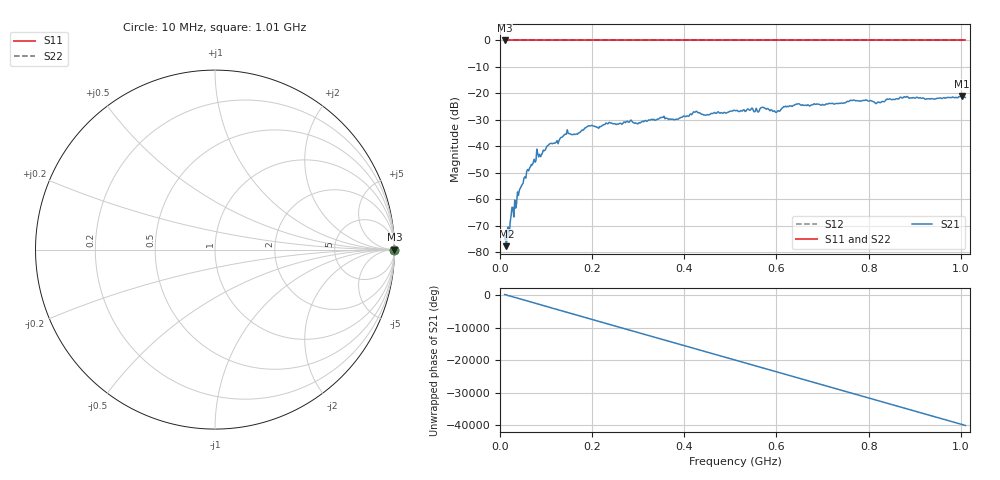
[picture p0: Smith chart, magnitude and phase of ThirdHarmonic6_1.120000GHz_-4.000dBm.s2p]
! 8/16/2025 10:45:35 AM
! C:\ANRITSUVNA\TEMP\TEMP.S2P
! CHANNEL.1
! TR.MEASUREMENT
! RAW.DATA
! RF.CORRECTION.OFF
! AVERAGING.OFF
! IF.BANDWIDTH: 5KHZ
! SWEEPTYPE:  FREQ.SWEEP(Linear)
! Reference Plane Port Info
! PORT:  PORT1  PORT2
! DISTANCE:  0  m  0  m
! TIME:  0  s  0  s
! PHASE.OFFSET:  0  deg.  0  deg.
! LOSS:  0  dB  0  dB
! REF.LOSS:  0  dB  0  dB
! REF.FREQ:  0  Hz  0  Hz
! Power Info
! POWER:  -20  dBm  -20  dBm
! EFF.POWER:  -20  dBm  -20  dBm
! SOURCE.ATTEN:  0  dB  0  dB
! TEST.ATTEN:  0  dB  0  dB
# GHZ S RI R 50.0
! FREQ.GHZ  S11RE  S11IM  S21RE  S21IM  S12RE  S12IM  S22RE  S22IM
!; PortSelection: Port_12
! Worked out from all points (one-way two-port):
!   501 points, 10 MHz to 1.01 GHz, reference 50 ohm
!   highest |S21| = -21.00 dB at 1.002 GHz (marker M1); lowest = -77.8 dB at 14 MHz (marker M2)
!   lowest |S11| = 0.0 dB at 10 MHz (marker M3)
!   |S11| at or under -10 dB: nowhere
!   |S22| runs from 0.0 to 0.0 dB; largest |S21 - S12| = 1.1
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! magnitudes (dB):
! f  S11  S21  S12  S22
! 10 MHz  0.0  -75.1  0.0  0.0
! 14 MHz  0.0  -77.8  0.0  0.0
! 18 MHz  0.0  -70.5  0.0  0.0
! 28 MHz  0.0  -63.2  0.0  0.0
! 32 MHz  0.0  -60.3  0.0  0.0
! 42 MHz  0.0  -56.6  0.0  0.0
! 78 MHz  0.0  -45.5  0.0  0.0
! 142 MHz  0.0  -35.5  0.0  0.0
! 178 MHz  0.0  -33.9  0.0  0.0
! 196 MHz  0.0  -32.3  0.0  0.0
! 344 MHz  0.0  -29.8  0.0  0.0
! 382 MHz  0.0  -29.8  0.0  0.0
! 424 MHz  0.0  -27.0  0.0  0.0
! 450 MHz  0.0  -28.0  0.0  0.0
! 510 MHz  0.0  -26.5  0.0  0.0
! 570 MHz  0.0  -25.2  0.0  0.0
! 602 MHz  0.0  -26.8  0.0  0.0
! 644 MHz  0.0  -24.0  0.0  0.0
! 678 MHz  0.0  -24.4  0.0  0.0
! 844 MHz  0.0  -22.2  0.0  0.0
! 1.002 GHz  0.0  -21.0  0.0  0.0
! 1.01 GHz  0.0  -21.6  0.0  0.0
